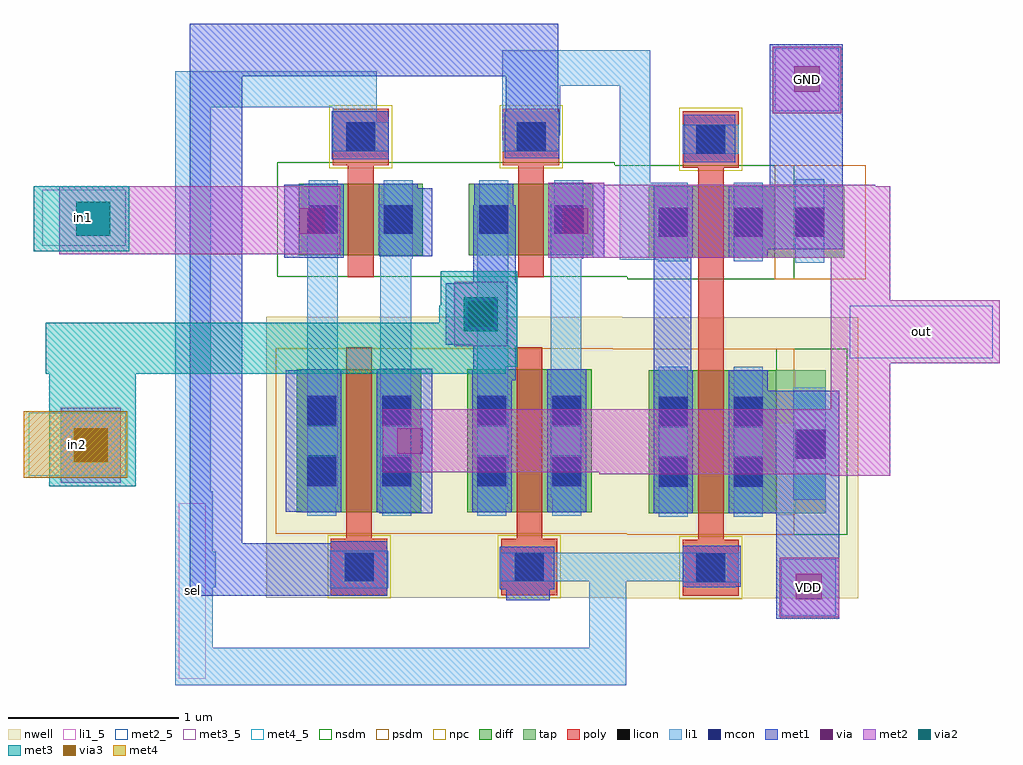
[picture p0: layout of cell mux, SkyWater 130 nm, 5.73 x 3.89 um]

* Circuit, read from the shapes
.subckt mux GND VDD in1 in2 out sel
XM1 out sel in1 GND sky130_fd_pr__nfet_01v8 w=0.42 l=0.15
XM2 out n1 in2 GND sky130_fd_pr__nfet_01v8 w=0.42 l=0.15
XM3 GND sel n1 GND sky130_fd_pr__nfet_01v8 w=0.42 l=0.15
XM4 out n1 in1 VDD sky130_fd_pr__pfet_01v8 w=0.84 l=0.15
XM5 out sel in2 VDD sky130_fd_pr__pfet_01v8 w=0.84 l=0.15
XM6 VDD sel n1 VDD sky130_fd_pr__pfet_01v8 w=0.84 l=0.15
.ends

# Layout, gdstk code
from math import pi, radians
import gdstk
lib = gdstk.Library(unit=1e-6, precision=1e-09)
def R(c, l, rs):  # rectangles x0, y0, x1, y1
    for r in rs: c.add(gdstk.rectangle(r[:2], r[2:], *l))
nwell = (64, 20)
diff = (65, 20)
tap = (65, 44)
poly = (66, 20)
licon = (66, 44)
li1_5 = (67, 5)
li1 = (67, 20)
mcon = (67, 44)
met1 = (68, 20)
via = (68, 44)
met2_5 = (69, 5)
met2 = (69, 20)
via2 = (69, 44)
met3_5 = (70, 5)
met3 = (70, 20)
via3 = (70, 44)
met4_5 = (71, 5)
met4 = (71, 20)
nsdm = (93, 44)
psdm = (94, 20)
npc = (95, 20)

sky130_fd_pr__pfet_01v8_ = lib.new_cell('sky130_fd_pr__pfet_01v8_EMKQNQ')
R(sky130_fd_pr__pfet_01v8_, nwell, [(-0.545,-0.74,0.545,-0.245), (-0.545,-0.245,0.385,0.295), (0.495,-0.245,0.545,0.295), (-0.545,0.295,0.545,0.48), (-0.545,0.48,0.385,0.6), (0.495,0.48,0.545,0.6), (-0.545,0.6,0.545,0.91)])
R(sky130_fd_pr__pfet_01v8_, diff, [(-0.365,-0.24,0.365,0.6)])
R(sky130_fd_pr__pfet_01v8_, poly, [(-0.165,-0.725,0.165,-0.395), (-0.075,-0.395,0.075,0.73)])
R(sky130_fd_pr__pfet_01v8_, licon, [(-0.085,-0.645,0.085,-0.475), (-0.305,-0.075,-0.135,0.095), (0.135,-0.075,0.305,0.095), (-0.305,0.265,-0.135,0.435), (0.135,0.265,0.305,0.435)])
R(sky130_fd_pr__pfet_01v8_, li1, [(-0.165,-0.645,0.165,-0.475), (-0.305,-0.26,-0.135,0.62), (0.135,-0.26,0.305,0.62)])
R(sky130_fd_pr__pfet_01v8_, mcon, [(-0.085,-0.645,0.085,-0.475), (-0.305,-0.085,-0.135,0.085), (0.135,-0.085,0.305,0.085), (-0.305,0.275,-0.135,0.445), (0.135,0.275,0.305,0.445)])
R(sky130_fd_pr__pfet_01v8_, met1, [(-0.145,-0.675,0.145,-0.445), (-0.335,-0.24,-0.105,0.6), (0.105,-0.24,0.335,0.6), (0.385,0.295,0.495,0.475)])
R(sky130_fd_pr__pfet_01v8_, psdm, [(-0.49,-0.365,0.49,0.725)])
R(sky130_fd_pr__pfet_01v8_, npc, [(-0.185,-0.745,0.185,-0.375)])

sky130_fd_pr__nfet_01v8_ = lib.new_cell('sky130_fd_pr__nfet_01v8_SLJCGW')
R(sky130_fd_pr__nfet_01v8_, diff, [(-0.365,-0.365,0.365,0.055)])
R(sky130_fd_pr__nfet_01v8_, poly, [(-0.075,-0.495,0.075,0.165), (-0.165,0.165,0.165,0.495)])
R(sky130_fd_pr__nfet_01v8_, licon, [(-0.305,-0.24,-0.135,-0.07), (0.135,-0.24,0.305,-0.07), (-0.085,0.245,0.085,0.415)])
R(sky130_fd_pr__nfet_01v8_, li1, [(-0.305,-0.385,-0.135,0.075), (0.135,-0.385,0.305,0.075), (-0.165,0.245,0.165,0.415)])
R(sky130_fd_pr__nfet_01v8_, mcon, [(-0.305,-0.24,-0.135,-0.07), (0.135,-0.24,0.305,-0.07), (-0.085,0.245,0.085,0.415)])
R(sky130_fd_pr__nfet_01v8_, met1, [(-0.335,-0.365,-0.105,0.055), (0.105,-0.365,0.335,0.055), (-0.145,0.215,0.145,0.445)])
R(sky130_fd_pr__nfet_01v8_, nsdm, [(-0.49,-0.49,0.49,0.18)])
R(sky130_fd_pr__nfet_01v8_, npc, [(-0.185,0.145,0.185,0.515)])

c_sky130_fd_pr__pfet_01v8_ = lib.new_cell('sky130_fd_pr__pfet_01v8_E6WEYA')
R(c_sky130_fd_pr__pfet_01v8_, nwell, [(-0.545,-0.91,0.545,0.74)])
R(c_sky130_fd_pr__pfet_01v8_, diff, [(-0.365,-0.6,0.365,0.24)])
R(c_sky130_fd_pr__pfet_01v8_, poly, [(-0.075,-0.73,0.075,0.395), (-0.165,0.395,0.165,0.725)])
R(c_sky130_fd_pr__pfet_01v8_, licon, [(-0.305,-0.435,-0.135,-0.265), (0.135,-0.435,0.305,-0.265), (-0.305,-0.095,-0.135,0.075), (0.135,-0.095,0.305,0.075), (-0.085,0.475,0.085,0.645)])
R(c_sky130_fd_pr__pfet_01v8_, li1, [(-0.305,-0.62,-0.135,0.26), (0.135,-0.62,0.305,0.26), (-0.165,0.475,0.165,0.645)])
R(c_sky130_fd_pr__pfet_01v8_, mcon, [(-0.305,-0.445,-0.135,-0.275), (0.135,-0.445,0.305,-0.275), (-0.305,-0.085,-0.135,0.085), (0.135,-0.085,0.305,0.085), (-0.085,0.475,0.085,0.645)])
R(c_sky130_fd_pr__pfet_01v8_, met1, [(-0.335,-0.6,-0.105,0.24), (0.105,-0.6,0.335,0.24), (-0.145,0.445,0.145,0.675)])
R(c_sky130_fd_pr__pfet_01v8_, psdm, [(-0.49,-0.725,0.49,0.365)])
R(c_sky130_fd_pr__pfet_01v8_, npc, [(-0.185,0.375,0.185,0.745)])

mux = lib.new_cell('mux')
R(mux, nwell, [(4.42,-1.23,4.79,-0.2), (1.315,-1.225,2.685,-0.905), (1.315,-0.905,2.405,0.25), (4.28,-0.73,4.29,-0.64), (4.24,-0.2,4.79,-0.01), (4.42,-0.01,4.79,0.42), (1.315,0.25,2.53,0.26), (1.315,0.26,2.405,0.425)])
R(mux, diff, [(4.28,-0.73,4.31,0.11), (1.495,-0.725,2.225,0.115), (4.27,0.77,4.3,1.19), (1.505,0.785,2.235,1.205)])
R(mux, tap, [(4.31,-0.73,4.6,0.11), (4.3,0.77,4.71,1.19)])
R(mux, poly, [(1.695,-1.21,2.025,-0.88), (1.785,-0.88,1.935,0.245), (3.85,0.175,4,0.77), (1.795,0.655,1.945,1.315), (1.705,1.315,2.035,1.645)])
R(mux, licon, [(1.775,-1.13,1.945,-0.96), (1.555,-0.56,1.725,-0.39), (1.995,-0.56,2.165,-0.39), (4.42,-0.41,4.59,-0.24), (1.555,-0.22,1.725,-0.05), (1.995,-0.22,2.165,-0.05), (4.42,0.895,4.59,1.065), (1.565,0.91,1.735,1.08), (2.005,0.91,2.175,1.08), (1.785,1.395,1.955,1.565)])
R(mux, li1_5, [(0.8,-1.7,0.96,-0.67)])
R(mux, li1, [(0.78,-1.74,3.43,-1.52), (0.78,-1.52,1,-1.165), (3.21,-1.52,3.43,-1.13), (1.69,-1.17,2.03,-0.95), (0.78,-1.165,1.02,-0.955), (2.71,-1.13,3.9,-0.96), (0.78,-0.955,1,-0.6), (1.555,-0.745,1.725,-0.675), (1.995,-0.745,2.165,-0.635), (1.555,-0.675,1.735,1.045), (2.555,-0.675,2.735,1.045), (4.41,-0.65,4.6,0.01), (1.985,-0.635,2.165,0.765), (2.985,-0.635,3.165,1.085), (0.78,-0.6,0.99,1.655), (4.42,0.74,4.59,1.23), (3.39,0.76,3.79,1.17), (1.985,0.765,2.175,1.085), (1.565,1.045,1.735,1.225), (2.005,1.085,2.175,1.225), (3.39,1.17,3.77,1.21), (3.39,1.21,3.57,1.78), (1.705,1.395,2.035,1.565), (2.7,1.46,2.91,1.49), (2.7,1.49,3.04,1.78), (1.705,1.565,1.965,1.655), (0.78,1.655,1.965,1.865), (2.7,1.78,3.57,1.99)])
R(mux, mcon, [(1.775,-1.13,1.945,-0.96), (1.555,-0.57,1.725,-0.4), (1.995,-0.57,2.165,-0.4), (4.43,-0.41,4.6,-0.24), (1.555,-0.21,1.725,-0.04), (1.995,-0.21,2.165,-0.04), (4.42,0.895,4.59,1.065), (1.565,0.91,1.735,1.08), (2.005,0.91,2.175,1.08), (1.785,1.395,1.955,1.565)])
R(mux, met1, [(4.31,-1.35,4.68,-0.73), (2.725,-1.24,2.98,-1.175), (0.865,-1.215,2.025,-0.905), (2.685,-1.175,3.005,-0.925), (3.76,-1.16,4.1,-0.92), (0.865,-0.905,1.175,1.835), (1.695,-0.905,2.025,-0.895), (1.98,-0.73,2.29,-0.725), (4.03,-0.73,4.68,-0.25), (1.525,-0.725,1.755,-0.72), (1.965,-0.725,2.29,0.115), (1.43,-0.72,1.755,0.11), (4.12,-0.25,4.68,-0.15), (4.24,-0.15,4.68,-0.01), (3.59,-0.09,3.81,1.18), (2.53,0.05,2.78,0.25), (1.525,0.11,1.755,0.115), (1.98,0.115,2.29,0.12), (2.53,0.25,2.79,0.26), (2.37,0.26,2.79,0.62), (2.53,0.62,2.78,1.08), (1.42,0.77,1.77,1.2), (2.97,0.77,3.3,1.21), (1.98,0.78,2.29,0.785), (1.975,0.785,2.29,1.18), (4.08,0.82,4.7,1.19), (1.975,1.18,2.205,1.205), (4.27,1.19,4.7,2.025), (1.535,1.2,1.765,1.205), (3.77,1.33,4.07,1.61), (1.7,1.35,2.035,1.595), (2.715,1.355,3.035,1.625), (1.7,1.595,2.03,1.63), (2.72,1.625,3.03,1.835), (0.865,1.835,3.03,2.145)])
R(mux, via, [(4.425,-1.235,4.575,-1.085), (2.085,-0.38,2.235,-0.23), (2.5,0.365,2.65,0.515), (1.51,0.91,1.66,1.06), (3.055,0.91,3.205,1.06), (4.415,1.745,4.565,1.895)])
R(mux, met2_5, [(4.34,-1.33,4.66,-1), (4.74,0.18,5.58,0.49), (4.3,1.63,4.68,2)])
R(mux, met2, [(4.33,-1.34,4.68,-0.99), (0.11,-0.55,0.46,-0.11), (4.63,-0.51,4.98,-0.5), (3.27,-0.5,4.98,-0.49), (2,-0.49,4.98,-0.12), (4.63,-0.12,4.98,0.15), (4.63,0.15,5.62,0.52), (2.42,0.25,2.73,0.63), (4.63,0.52,4.98,0.77), (2.97,0.77,4.98,1.19), (0.1,0.79,1.75,1.19), (2.97,1.19,4.89,1.2), (2.97,1.2,3.3,1.21), (4.29,1.62,4.69,2.01)])
R(mux, via2, [(0.185,-0.43,0.385,-0.23), (2.475,0.34,2.675,0.54), (0.2,0.9,0.4,1.1)])
R(mux, met3_5, [(0,0.84,0.49,1.17)])
R(mux, met3, [(0.04,-0.57,0.55,0.09), (0.02,0.09,2.72,0.13), (0.02,0.13,2.79,0.39), (2.33,0.39,2.79,0.49), (2.34,0.49,2.79,0.69), (-0.05,0.81,0.51,1.19)])
R(mux, via3, [(0.185,-0.43,0.385,-0.23)])
R(mux, met4_5, [(-0.08,-0.51,0.49,-0.14)])
R(mux, met4, [(-0.11,-0.52,0.5,-0.13)])
R(mux, nsdm, [(4.31,-0.855,4.725,0.235), (4.145,0.645,4.3,1.315), (1.38,0.66,2.38,1.33), (3.36,0.66,3.435,1.315)])
R(mux, psdm, [(4.155,-0.855,4.31,0.235), (1.37,-0.85,2.37,0.24), (3.35,-0.85,3.435,0.235), (4.3,0.645,4.835,1.315)])
R(mux, npc, [(1.675,-1.23,2.045,-0.86), (1.685,1.295,2.055,1.665)])
mux.add(gdstk.Reference(sky130_fd_pr__pfet_01v8_, (3.925,-0.49)))
mux.add(gdstk.Reference(sky130_fd_pr__nfet_01v8_, (2.87,1.15)))
mux.add(gdstk.Reference(sky130_fd_pr__nfet_01v8_, (3.925,1.135)))
mux.add(gdstk.Reference(c_sky130_fd_pr__pfet_01v8_, (2.86,-0.485), rotation=pi))
mux.add(gdstk.Label('sel', (0.88,-1.185), layer=67, texttype=5))
mux.add(gdstk.Label('GND', (4.49,1.815), layer=69, texttype=5))
mux.add(gdstk.Label('VDD', (4.5,-1.165), layer=69, texttype=5))
mux.add(gdstk.Label('in1', (0.245,1.005), layer=70, texttype=5))
mux.add(gdstk.Label('in2', (0.205,-0.325), layer=71, texttype=5))
mux.add(gdstk.Label('out', (5.16,0.335), layer=69, texttype=5))

lib.write_gds('mux.gds')
